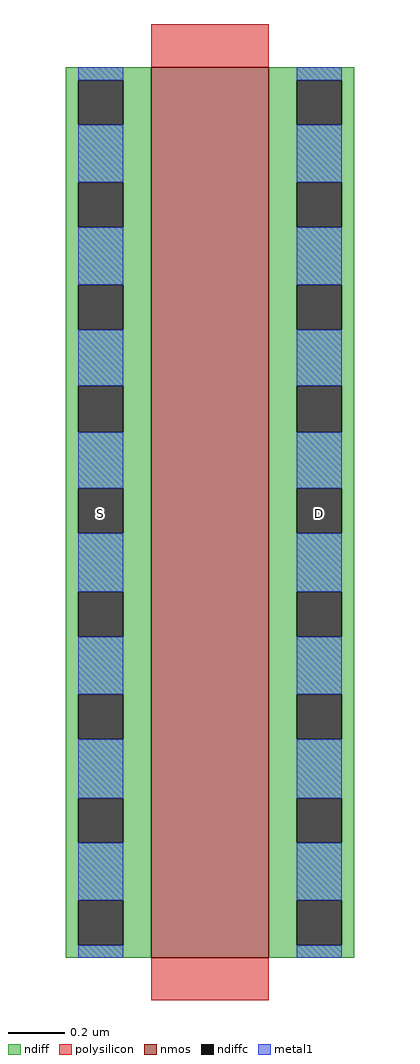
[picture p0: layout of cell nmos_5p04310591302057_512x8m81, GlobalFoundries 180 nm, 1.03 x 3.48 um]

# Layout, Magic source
magic
tech gf180mcuD
magscale 1 10
<< nmos >>
rect 0 0 84 635
<< ndiff >>
rect -61 626 0 635
rect -61 594 -52 626
rect -20 594 0 626
rect -61 553 0 594
rect -61 521 -52 553
rect -20 521 0 553
rect -61 480 0 521
rect -61 448 -52 480
rect -20 448 0 480
rect -61 408 0 448
rect -61 375 -52 408
rect -20 375 0 408
rect -61 335 0 375
rect -61 303 -52 335
rect -20 303 0 335
rect -61 261 0 303
rect -61 229 -52 261
rect -20 229 0 261
rect -61 188 0 229
rect -61 156 -52 188
rect -20 156 0 188
rect -61 114 0 156
rect -61 82 -52 114
rect -20 82 0 114
rect -61 41 0 82
rect -61 9 -52 41
rect -20 9 0 41
rect -61 0 0 9
rect 84 626 145 635
rect 84 594 104 626
rect 136 594 145 626
rect 84 553 145 594
rect 84 521 104 553
rect 136 521 145 553
rect 84 480 145 521
rect 84 448 104 480
rect 136 448 145 480
rect 84 408 145 448
rect 84 375 104 408
rect 136 375 145 408
rect 84 335 145 375
rect 84 303 104 335
rect 136 303 145 335
rect 84 261 145 303
rect 84 229 104 261
rect 136 229 145 261
rect 84 188 145 229
rect 84 156 104 188
rect 136 156 145 188
rect 84 114 145 156
rect 84 82 104 114
rect 136 82 145 114
rect 84 41 145 82
rect 84 9 104 41
rect 136 9 145 41
rect 84 0 145 9
<< ndiffc >>
rect -52 594 -20 626
rect -52 521 -20 553
rect -52 448 -20 480
rect -52 375 -20 408
rect -52 303 -20 335
rect -52 229 -20 261
rect -52 156 -20 188
rect -52 82 -20 114
rect -52 9 -20 41
rect 104 594 136 626
rect 104 521 136 553
rect 104 448 136 480
rect 104 375 136 408
rect 104 303 136 335
rect 104 229 136 261
rect 104 156 136 188
rect 104 82 136 114
rect 104 9 136 41
<< polysilicon >>
rect 0 635 84 666
rect 0 -30 84 0
<< metal1 >>
rect -52 626 -20 635
rect -52 553 -20 594
rect -52 480 -20 521
rect -52 408 -20 448
rect -52 335 -20 375
rect -52 261 -20 303
rect -52 188 -20 229
rect -52 114 -20 156
rect -52 41 -20 82
rect -52 0 -20 9
rect 104 626 136 635
rect 104 553 136 594
rect 104 480 136 521
rect 104 408 136 448
rect 104 335 136 375
rect 104 261 136 303
rect 104 188 136 229
rect 104 114 136 156
rect 104 41 136 82
rect 104 0 136 9
<< labels >>
flabel ndiffc -36 317 -36 317 0 FreeSans 140 0 0 0 S
flabel ndiffc 120 317 120 317 0 FreeSans 140 0 0 0 D
<< end >>
